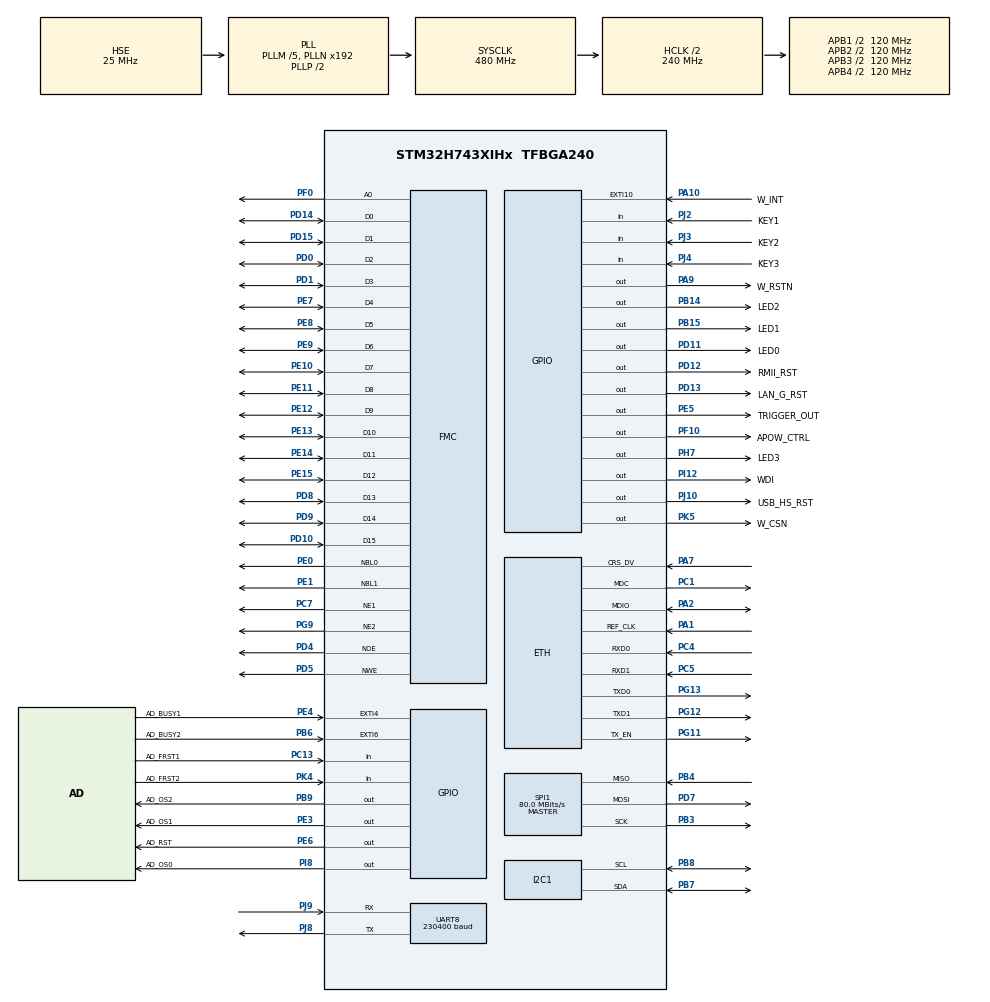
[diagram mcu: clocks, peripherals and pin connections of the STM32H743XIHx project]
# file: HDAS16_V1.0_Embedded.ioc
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CORTEX_M7.CPU_ICache=Disabled
ETH.MediaInterface=HAL_ETH_RMII_MODE
I2C1.Timing=0x307075B1
Mcu.Family=STM32H7
Mcu.Name=STM32H743XIHx
Mcu.Package=TFBGA240
NVIC.EXTI15_10_IRQn=true\:0\:0\:false\:false\:true\:true\:true
NVIC.EXTI4_IRQn=true\:0\:0\:false\:false\:true\:true\:true
NVIC.EXTI9_5_IRQn=true\:0\:0\:false\:false\:true\:true\:true
NVIC.PriorityGroup=NVIC_PRIORITYGROUP_4
PA1.Mode=RMII
PA1.Signal=ETH_REF_CLK
PA10.GPIO_Label=W_INT
PA10.GPIO_ModeDefaultEXTI=GPIO_MODE_IT_FALLING
PA10.Signal=GPXTI10
PA13\ (JTMS/SWDIO).Mode=Serial_Wire
PA13\ (JTMS/SWDIO).Signal=DEBUG_JTMS-SWDIO
PA14\ (JTCK/SWCLK).Mode=Serial_Wire
PA14\ (JTCK/SWCLK).Signal=DEBUG_JTCK-SWCLK
PA2.Mode=RMII
PA2.Signal=ETH_MDIO
PA7.Mode=RMII
PA7.Signal=ETH_CRS_DV
PA9.GPIO_Label=W_RSTN
PA9.GPIO_Speed=GPIO_SPEED_FREQ_MEDIUM
PA9.Signal=GPIO_Output
PB14.GPIO_Label=LED2
PB14.Signal=GPIO_Output
PB15.GPIO_Label=LED1
PB15.Signal=GPIO_Output
PB3\ (JTDO/TRACESWO).Mode=Full_Duplex_Master
PB3\ (JTDO/TRACESWO).Signal=SPI1_SCK
PB4\ (NJTRST).Mode=Full_Duplex_Master
PB4\ (NJTRST).Signal=SPI1_MISO
PB6.GPIO_Label=AD_BUSY2
PB6.GPIO_ModeDefaultEXTI=GPIO_MODE_IT_FALLING
PB6.Signal=GPXTI6
PB7.Mode=I2C
PB7.Signal=I2C1_SDA
PB8.Mode=I2C
PB8.Signal=I2C1_SCL
PB9.GPIO_Label=AD_OS2
PB9.Signal=GPIO_Output
PC1.Mode=RMII
PC1.Signal=ETH_MDC
PC13.GPIO_Label=AD_FRST1
PC13.Signal=GPIO_Input
PC14-OSC32_IN\ (OSC32_IN).Mode=LSE-External-Clock-Source
PC14-OSC32_IN\ (OSC32_IN).Signal=RCC_OSC32_IN
PC4.Mode=RMII
PC4.Signal=ETH_RXD0
PC5.Mode=RMII
PC5.Signal=ETH_RXD1
PC7.Mode=NorPsramChipSelect1_1
PC7.Signal=FMC_NE1
PD0.Signal=FMC_D2_DA2
PD1.Signal=FMC_D3_DA3
PD10.Signal=FMC_D15_DA15
PD11.GPIO_Label=LED0
PD11.Signal=GPIO_Output
PD12.GPIO_Label=RMII_RST
PD12.GPIO_PuPd=GPIO_NOPULL
PD12.GPIO_Speed=GPIO_SPEED_FREQ_MEDIUM
PD12.Signal=GPIO_Output
PD13.GPIO_Label=LAN_G_RST
PD13.Signal=GPIO_Output
PD14.Signal=FMC_D0_DA0
PD15.Signal=FMC_D1_DA1
PD4.Signal=FMC_NOE
PD5.Signal=FMC_NWE
PD7.Mode=Full_Duplex_Master
PD7.Signal=SPI1_MOSI
PD8.Signal=FMC_D13_DA13
PD9.Signal=FMC_D14_DA14
PE0.Signal=FMC_NBL0
PE1.Signal=FMC_NBL1
PE10.Signal=FMC_D7_DA7
PE11.Signal=FMC_D8_DA8
PE12.Signal=FMC_D9_DA9
PE13.Signal=FMC_D10_DA10
PE14.Signal=FMC_D11_DA11
PE15.Signal=FMC_D12_DA12
PE3.GPIO_Label=AD_OS1
PE3.Signal=GPIO_Output
PE4.GPIO_Label=AD_BUSY1
PE4.GPIO_ModeDefaultEXTI=GPIO_MODE_IT_FALLING
PE4.Signal=GPXTI4
PE5.GPIO_Label=TRIGGER_OUT
PE5.Signal=GPIO_Output
PE6.GPIO_Label=AD_RST
PE6.Signal=GPIO_Output
PE7.Signal=FMC_D4_DA4
PE8.Signal=FMC_D5_DA5
PE9.Signal=FMC_D6_DA6
PF0.Signal=FMC_A0
PF10.GPIO_Label=APOW_CTRL
PF10.Signal=GPIO_Output
PG11.Mode=RMII
PG11.Signal=ETH_TX_EN
PG12.Mode=RMII
PG12.Signal=ETH_TXD1
PG13.Mode=RMII
PG13.Signal=ETH_TXD0
PG9.Mode=NorPsramChipSelect2_2
PG9.Signal=FMC_NE2
PH0-OSC_IN\ (PH0).Mode=HSE-External-Clock-Source
PH0-OSC_IN\ (PH0).Signal=RCC_OSC_IN
PH7.GPIO_Label=LED3
PH7.Signal=GPIO_Output
PI12.GPIO_Label=WDI
PI12.Signal=GPIO_Output
PI8.GPIO_Label=AD_OS0
PI8.Signal=GPIO_Output
PJ10.GPIO_Label=USB_HS_RST
PJ10.GPIO_Speed=GPIO_SPEED_FREQ_MEDIUM
PJ10.Signal=GPIO_Output
PJ2.GPIO_Label=KEY1
PJ2.Signal=GPIO_Input
PJ3.GPIO_Label=KEY2
PJ3.Signal=GPIO_Input
PJ4.GPIO_Label=KEY3
PJ4.Signal=GPIO_Input
PJ8.Mode=Asynchronous
PJ8.Signal=UART8_TX
PJ9.Mode=Asynchronous
PJ9.Signal=UART8_RX
PK4.GPIO_Label=AD_FRST2
PK4.Signal=GPIO_Input
PK5.GPIO_Label=W_CSN
PK5.GPIO_Speed=GPIO_SPEED_FREQ_MEDIUM
PK5.PinState=GPIO_PIN_SET
PK5.Signal=GPIO_Output
ProjectManager.HeapSize=0x400
ProjectManager.StackSize=0x1000
ProjectManager.TargetToolchain=MDK-ARM V5.27
RCC.ADCFreq_Value=160000000
RCC.APB1Freq_Value=120000000
RCC.APB2Freq_Value=120000000
RCC.APB3Freq_Value=120000000
RCC.APB4Freq_Value=120000000
RCC.CortexFreq_Value=480000000
RCC.D1PPRE=RCC_APB3_DIV2
RCC.D2PPRE1=RCC_APB1_DIV2
RCC.D2PPRE2=RCC_APB2_DIV2
RCC.D3PPRE=RCC_APB4_DIV2
RCC.DIVM1=5
RCC.DIVM2=5
RCC.DIVM3=5
RCC.DIVN1=192
RCC.DIVN2=192
RCC.DIVN3=192
RCC.DIVP2=6
RCC.DIVQ1=8
RCC.DIVQ3=16
RCC.HCLKFreq_Value=240000000
RCC.HPRE=RCC_HCLK_DIV2
RCC.PLL2FRACN=0
RCC.PLL3FRACN=0
RCC.PLLFRACN=0
RCC.PLLSourceVirtual=RCC_PLLSOURCE_HSE
RCC.RTCClockSelection=RCC_RTCCLKSOURCE_LSE
RCC.SPI123CLockSelection=RCC_SPI123CLKSOURCE_PLL2
RCC.SYSCLKFreq_VALUE=480000000
RCC.SYSCLKSource=RCC_SYSCLKSOURCE_PLLCLK
RCC.USBCLockSelection=RCC_USBCLKSOURCE_PLL3
RCC.USBFreq_Value=60000000
SH.FMC_A0.0=FMC_A0,1b-a1
SH.FMC_A0.1=FMC_A0,1b-a2
SH.FMC_D0_DA0.0=FMC_D0,16b-d1
SH.FMC_D0_DA0.1=FMC_D0,16b-d2
SH.FMC_D10_DA10.0=FMC_D10,16b-d1
SH.FMC_D10_DA10.1=FMC_D10,16b-d2
SH.FMC_D11_DA11.0=FMC_D11,16b-d1
SH.FMC_D11_DA11.1=FMC_D11,16b-d2
SH.FMC_D12_DA12.0=FMC_D12,16b-d1
SH.FMC_D12_DA12.1=FMC_D12,16b-d2
SH.FMC_D13_DA13.0=FMC_D13,16b-d1
SH.FMC_D13_DA13.1=FMC_D13,16b-d2
SH.FMC_D14_DA14.0=FMC_D14,16b-d1
SH.FMC_D14_DA14.1=FMC_D14,16b-d2
SH.FMC_D15_DA15.0=FMC_D15,16b-d1
SH.FMC_D15_DA15.1=FMC_D15,16b-d2
SH.FMC_D1_DA1.0=FMC_D1,16b-d1
SH.FMC_D1_DA1.1=FMC_D1,16b-d2
SH.FMC_D2_DA2.0=FMC_D2,16b-d1
SH.FMC_D2_DA2.1=FMC_D2,16b-d2
SH.FMC_D3_DA3.0=FMC_D3,16b-d1
SH.FMC_D3_DA3.1=FMC_D3,16b-d2
SH.FMC_D4_DA4.0=FMC_D4,16b-d1
SH.FMC_D4_DA4.1=FMC_D4,16b-d2
SH.FMC_D5_DA5.0=FMC_D5,16b-d1
SH.FMC_D5_DA5.1=FMC_D5,16b-d2
SH.FMC_D6_DA6.0=FMC_D6,16b-d1
SH.FMC_D6_DA6.1=FMC_D6,16b-d2
SH.FMC_D7_DA7.0=FMC_D7,16b-d1
SH.FMC_D7_DA7.1=FMC_D7,16b-d2
SH.FMC_D8_DA8.0=FMC_D8,16b-d1
SH.FMC_D8_DA8.1=FMC_D8,16b-d2
SH.FMC_D9_DA9.0=FMC_D9,16b-d1
SH.FMC_D9_DA9.1=FMC_D9,16b-d2
SH.FMC_NBL0.0=FMC_NBL0,2ByteEnable1
SH.FMC_NBL1.0=FMC_NBL1,2ByteEnable1
SH.FMC_NOE.0=FMC_NOE,Sram1
SH.FMC_NOE.1=FMC_NOE,Sram2
SH.FMC_NWE.0=FMC_NWE,Sram1
SH.FMC_NWE.1=FMC_NWE,Sram2
SPI1.BaudRatePrescaler=SPI_BAUDRATEPRESCALER_2
SPI1.CalculateBaudRate=80.0 MBits/s
SPI1.DataSize=SPI_DATASIZE_8BIT
SPI1.Direction=SPI_DIRECTION_2LINES
SPI1.Mode=SPI_MODE_MASTER
SPI1.VirtualType=VM_MASTER
UART8.BaudRate=230400
board=custom

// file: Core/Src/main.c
/* USER CODE BEGIN Header */
/**
  ******************************************************************************
  * @file           : main.c
  * @brief          : Main program body
  ******************************************************************************
  * @attention
  *
  * <h2><center>&copy; Copyright (c) 2022 STMicroelectronics.
  * All rights reserved.</center></h2>
  *
  * This software component is licensed by ST under BSD 3-Clause license,
  * the "License"; You may not use this file except in compliance with the
  * License. You may obtain a copy of the License at:
  *                        opensource.org/licenses/BSD-3-Clause
  *
  ******************************************************************************
  */
/* USER CODE END Header */
#include "main.h"

#ifdef __GNUC__
  /* With GCC/RAISONANCE, small printf (option LD Linker->Libraries->Small printf
     set to 'Yes') calls __io_putchar() */
  #define PUTCHAR_PROTOTYPE int __io_putchar(int ch)
#else
  #define PUTCHAR_PROTOTYPE int fputc(int ch, FILE *f)
#endif /* __GNUC__ */

/*MAC地址首字节必须为偶数
  如果多块W5100s网络适配板在同一现场工作，请使用不同的MAC地址
*/

/*
socket发送缓存定义为16K，采集400组数据或超时（1S）后发送一次，这样在20K的采样率下，每隔20mS发送一组数据，建议采样率不超过100K

设备采用TCP服务器模式，采集到的数据通过以太网发送出去

*/

void CPU_CACHE_Enable(void);
void MPU_Config( void );

void HAL_Get_CPU_RCC_Clock(void);

//void SystemClock_Config(void);

void Uart_commend_process(void)
{
	//串口指令
		if(Uart_Rx_flag==1)
		{

			//进入命令处理函数,首先判断收到的数据是否正确，如果正确，则将数据存入EEPROM，然后继续运行，新参数将在重启后生效。
			// 7E 45 7E 45 01 xx xx xx xx SUM     设置IPV4地址
			// 7E 45 7E 45 02 xx xx xx xx SUM			设置子网掩码
			// 7E 45 7E 45 03 xx xx xx xx SUM			设置网关

			//检查帧头、数据长度、检验和正确性

			if((Uart_Rxbuff[0]==0x7e) && (Uart_Rxbuff[1]==0x45) && (Uart_Rxbuff[2]==0x7e) && (Uart_Rxbuff[3]==0x45) )
			{
				if(Uart_Rxbuff[4] == 0x01)
				{
					NetworkPar.lip[0]=Uart_Rxbuff[5];
					NetworkPar.lip[1]=Uart_Rxbuff[6];
					NetworkPar.lip[2]=Uart_Rxbuff[7];
					NetworkPar.lip[3]=Uart_Rxbuff[8];

					log_info("RX NetworkPar.lip dat,Uart_Rxcount:%d\r\n",Uart_Rxcount);

				}
				else if(Uart_Rxbuff[4] == 0x02)
				{
					NetworkPar.sub[0]=Uart_Rxbuff[5];
					NetworkPar.sub[1]=Uart_Rxbuff[6];
					NetworkPar.sub[2]=Uart_Rxbuff[7];
					NetworkPar.sub[3]=Uart_Rxbuff[8];

					log_info("RX NetworkPar.sub dat,Uart_Rxcount:%d\r\n",Uart_Rxcount);
				}
				else if(Uart_Rxbuff[4] == 0x03)
				{
					NetworkPar.gw[0]=Uart_Rxbuff[5];
					NetworkPar.gw[1]=Uart_Rxbuff[6];
					NetworkPar.gw[2]=Uart_Rxbuff[7];
					NetworkPar.gw[3]=Uart_Rxbuff[8];

					log_info("RX NetworkPar.gw dat,Uart_Rxcount:%d\r\n",Uart_Rxcount);
				}
				else if(Uart_Rxbuff[4] == 0x04)
				{
					NetworkPar.port=((uint16_t)Uart_Rxbuff[5]<<8)|Uart_Rxbuff[6];

					log_info("RX NetworkPar.port dat,Uart_Rxcount:%d\r\n",Uart_Rxcount);
				}
				else
				{
					log_info("Uart dat error,Uart_Rxcount:%d\r\n",Uart_Rxcount);
				}

				I2C_EE_BufferWrite(0xa0,0x0,(uint8_t *)&NetworkPar,sizeof(NetworkPar));

				//log_info("Uart_Rx:0x%x,Uart_Rxcount:%d\r\n",Uart_Rxbuff[0],Uart_Rxcount);
			}
			else
			{
				log_info("Uart_Rx Error\r\n");
			}

			Uart_Rx_flag=0;
			Uart_Rxcount=0;
		}
}

int fputc(int ch,FILE *f)
{
	HAL_UART_Transmit(&huart8,(uint8_t*)&ch,1,10);
	return ch;
}

NetworkPar_type NetworkPar_def={0};	//定义默认网络参数

uint32_t AD_count=0;
uint8_t buff[2048]={0};
uint8_t LAN_Link_Flag=0;
uint8_t test_dat=0;
uint8_t test_buff[128]={0};
uint8_t test_buff2[128]={0};
uint32_t tick_count=0;
int main(void)
{
  /* USER CODE BEGIN 1 */

	uint16 local_port=5000;
	uint8_t rx[3]={0};
	uint8_t tx[3]={0};

	uint32_t count=0;

	uint8 sn;

  /* USER CODE END 1 */

  /* MCU Configuration--------------------------------------------------------*/

  /* Reset of all peripherals, Initializes the Flash interface and the Systick. */

  /* USER CODE BEGIN Init */
	HAL_Init();

	SystemClock_Config();

  /* USER CODE END Init */

  /* Configure the system clock */

  /* Initialize all configured peripherals */
  MX_GPIO_Init();
	MX_UART8_Init();

  //MX_ETH_Init();
  MX_FMC_Init();
  MX_SPI1_Init();
  MX_I2C1_Init();

  /* USER CODE BEGIN 2 */

	HAL_Get_CPU_RCC_Clock();

  /* USER CODE END 2 */

  /* Infinite loop */
  /* USER CODE BEGIN WHILE */

	bsp_InitAD7606();

	HAL_GPIO_WritePin(APOW_CTRL_GPIO_Port, APOW_CTRL_Pin, GPIO_PIN_SET);

	log_info("Hardware Init OK!!!\r\n");

	WDI_TOGGLE();

	HAL_Delay(100);

	////初始化网络参数

	NetworkPar_def.lip[0]=192;
	NetworkPar_def.lip[1]=168;
	NetworkPar_def.lip[2]=1;
	NetworkPar_def.lip[3]=200;

	NetworkPar_def.sub[0]=255;
	NetworkPar_def.sub[1]=255;
	NetworkPar_def.sub[2]=255;
	NetworkPar_def.sub[3]=0;

	NetworkPar_def.gw[0]=192;
	NetworkPar_def.gw[1]=168;
	NetworkPar_def.gw[2]=1;
	NetworkPar_def.gw[3]=1;

	NetworkPar_def.port=5000;

	WDI_TOGGLE();

	if(I2C_EE_BufferRead(0xa0,0x0,(void *)&NetworkPar,sizeof(NetworkPar)) != HAL_OK)
	{
		memcpy((uint8_t *)&NetworkPar,(uint8_t *)&NetworkPar_def,sizeof(NetworkPar_def));	//给网络复制默认参数
		local_port=NetworkPar_def.port;
	}
	else
	{
		local_port=NetworkPar.port;
	}

	if(NetworkPar_def.lip[0]<127)
	{
		memcpy((uint8_t *)&NetworkPar,(uint8_t *)&NetworkPar_def,sizeof(NetworkPar_def));	//给网络复制默认参数
		local_port=NetworkPar_def.port;
	}
	else
	{
		local_port=NetworkPar.port;
	}

	//检查网络参数正确性。否则将复制默认参数

//#if 1
//
//	for(uint8_t i=0;i<128;i++)
//		test_buff2[i]=i;
//
//	while(1)
//	{
//
//	//I2C_EE_ByteWrite(0xa0,0x00,0x55);
//
//
//		I2C_EE_BufferWrite(0xa0,0x0,test_buff2,32);
//
//		HAL_Delay(100);
//
//	I2C_EE_BufferRead(0xa0,0x0,test_buff,32);
//
//		for(uint8_t i=0;i<32;i++)
//		{
//			log_info("test_buff[%d]:0x%x\r\n",i,test_buff[i]);
//		}
//
//	log_info("I2C test_buff[0]=0x%x\r\n",test_buff[0]);
//
//		HAL_Delay(5000);
//
//	}
//
//#endif

	//hdas_thread_creat();	//执行创建任务函数，开始RTOS

	/***** 硬重启W6100 *****/
	Reset_W6100();           // 复位 W6100  2020-03-11
	//	/***** W6100的IP信息初始化 *****/
	Set_Network();														// 配置初始化IP等信息并打印 2020-03-11
	setRCR(3);
	setRTR(4000);

	LOG_Net_info();

	LAN_Link_Flag=0;
	log_info("[%d]wait PHY_LINK...\r\n",count);

	while(wizphy_getphylink()==PHY_LINK_OFF) // 等待物理连接成功后，再进入到socket操作，2020-03-13
	{
			WDI_TOGGLE();
			HAL_Delay(250);
			WDI_TOGGLE();
			HAL_Delay(250);
			WDI_TOGGLE();
			HAL_Delay(250);
			WDI_TOGGLE();
			HAL_Delay(250);
			count++;

			Uart_commend_process();	//串口指令解析

		log_info("[%d]wait PHY_LINK...\r\n",count);
	}

	LAN_Link_Flag=1;
	log_info("PHY_LINK\r\n");

	//数据帧的帧头和帧尾格式

	AD_buff[0]=0x5555;
	AD_buff[1]=0x5555;
	AD_buff[962]=0xffff;
	AD_buff[963]=0xffff;

#if 1
	while(1)//socket操作测试
	{
		//网络发送

		//LED0_TOGGLE();

		WDI_TOGGLE();

		//tick_count=HAL_GetTick();
		if(wizphy_getphylink()==PHY_LINK_OFF)
		{
			for(sn=0;sn<7;sn++)
			{
				close(sn);
			}

			WDI_TOGGLE();
			HAL_Delay(250);
			WDI_TOGGLE();
			HAL_Delay(250);
			WDI_TOGGLE();
			HAL_Delay(250);
			WDI_TOGGLE();
			HAL_Delay(250);

			log_info("PHY_LINK_OFF\r\n");
		}
		else 	//采集到一组数据
		{
			tcps_senddata_ipv4(0, local_port,buff);
		}

		//tick_count=HAL_GetTick()-tick_count;

		//log_info("tick:%d\r\n",tick_count);

		WDI_TOGGLE();

		Uart_commend_process();	//串口指令解析

		//测试代码，输出脉冲信号
#ifdef SELF_TRIGGER_TEST
		HAL_Delay(100);

		{
			uint16_t ix=60;
			while(ix--)
			{
				HAL_GPIO_WritePin(GPIOA, GPIO_PIN_6, GPIO_PIN_RESET);
				//HAL_GPIO_WritePin(LED3_GPIO_Port, LED3_Pin, GPIO_PIN_SET);
				HAL_Delay(1);
				HAL_GPIO_WritePin(GPIOA, GPIO_PIN_6, GPIO_PIN_SET);
				//HAL_GPIO_WritePin(LED3_GPIO_Port, LED3_Pin, GPIO_PIN_RESET);
				HAL_Delay(1);
			}
		}
#endif

	}
#endif

#if	0
  while (1)//AD7606操作测试
  {
		HAL_Delay(10);
		HAL_GPIO_WritePin(WDI_GPIO_Port, WDI_Pin, GPIO_PIN_RESET);

		HAL_Delay(10);
		HAL_GPIO_WritePin(WDI_GPIO_Port, WDI_Pin, GPIO_PIN_SET);

		if(AD_flag==0x01)
		{
			AD_flag=0;
			AD_count++;

			log_info("AD_count=%d\r\n",AD_count);

			for(uint8_t i=0;i<=15;i++)
			{
				log_info("AD_dat[%d]:0x%x\r\n",i,AD_dat[i]);
			}

//			for(uint8_t i=0;i<=7;i++)
//			{
//				log_info("AD_B_dat[%d]:0x%x\r\n",i,AD_B_dat[i]);
//			}
			log_info("\r\n");
		}

    /* USER CODE END WHILE */

    /* USER CODE BEGIN 3 */
  }
#endif
  /* USER CODE END 3 */
}

void SystemClock_Config(void)
{
  RCC_OscInitTypeDef RCC_OscInitStruct = {0};
  RCC_ClkInitTypeDef RCC_ClkInitStruct = {0};

  /** Supply configuration update enable
  */
  HAL_PWREx_ConfigSupply(PWR_LDO_SUPPLY);
  /** Configure the main internal regulator output voltage
  */
  __HAL_PWR_VOLTAGESCALING_CONFIG(PWR_REGULATOR_VOLTAGE_SCALE0);

  while(!__HAL_PWR_GET_FLAG(PWR_FLAG_VOSRDY)) {}
  /** Macro to configure the PLL clock source
  */
  __HAL_RCC_PLL_PLLSOURCE_CONFIG(RCC_PLLSOURCE_HSE);
  /** Initializes the RCC Oscillators according to the specified parameters
  * in the RCC_OscInitTypeDef structure.
  */
  RCC_OscInitStruct.OscillatorType = RCC_OSCILLATORTYPE_HSE;
  RCC_OscInitStruct.HSEState = RCC_HSE_BYPASS;
  RCC_OscInitStruct.PLL.PLLState = RCC_PLL_ON;
  RCC_OscInitStruct.PLL.PLLSource = RCC_PLLSOURCE_HSE;
  RCC_OscInitStruct.PLL.PLLM = 5;
  RCC_OscInitStruct.PLL.PLLN = 192;
  RCC_OscInitStruct.PLL.PLLP = 2;
  RCC_OscInitStruct.PLL.PLLQ = 8;
  RCC_OscInitStruct.PLL.PLLR = 2;
  RCC_OscInitStruct.PLL.PLLRGE = RCC_PLL1VCIRANGE_2;
  RCC_OscInitStruct.PLL.PLLVCOSEL = RCC_PLL1VCOWIDE;
  RCC_OscInitStruct.PLL.PLLFRACN = 0;
  if (HAL_RCC_OscConfig(&RCC_OscInitStruct) != HAL_OK)
  {
    Error_Handler();
  }
  /** Initializes the CPU, AHB and APB buses clocks
  */
  RCC_ClkInitStruct.ClockType = RCC_CLOCKTYPE_HCLK|RCC_CLOCKTYPE_SYSCLK
                              |RCC_CLOCKTYPE_PCLK1|RCC_CLOCKTYPE_PCLK2
                              |RCC_CLOCKTYPE_D3PCLK1|RCC_CLOCKTYPE_D1PCLK1;
  RCC_ClkInitStruct.SYSCLKSource = RCC_SYSCLKSOURCE_PLLCLK;
  RCC_ClkInitStruct.SYSCLKDivider = RCC_SYSCLK_DIV1;
  RCC_ClkInitStruct.AHBCLKDivider = RCC_HCLK_DIV2;
  RCC_ClkInitStruct.APB3CLKDivider = RCC_APB3_DIV2;
  RCC_ClkInitStruct.APB1CLKDivider = RCC_APB1_DIV2;
  RCC_ClkInitStruct.APB2CLKDivider = RCC_APB2_DIV2;
  RCC_ClkInitStruct.APB4CLKDivider = RCC_APB4_DIV2;

  if (HAL_RCC_ClockConfig(&RCC_ClkInitStruct, FLASH_LATENCY_4) != HAL_OK)
  {
    Error_Handler();
  }
}

void MPU_Config( void )
{
	MPU_Region_InitTypeDef MPU_InitStruct;

	/* 禁止 MPU */
	HAL_MPU_Disable();

	/* 配置AXI SRAM的MPU属性为Write through, read allocate，no write allocate */
	MPU_InitStruct.Enable           = MPU_REGION_ENABLE;
	MPU_InitStruct.BaseAddress      = 0x24000000;
	MPU_InitStruct.Size             = MPU_REGION_SIZE_512KB;
	MPU_InitStruct.AccessPermission = MPU_REGION_FULL_ACCESS;
	MPU_InitStruct.IsBufferable     = MPU_ACCESS_NOT_BUFFERABLE;
	MPU_InitStruct.IsCacheable      = MPU_ACCESS_CACHEABLE;
	MPU_InitStruct.IsShareable      = MPU_ACCESS_NOT_SHAREABLE;
	MPU_InitStruct.Number           = MPU_REGION_NUMBER0;
	MPU_InitStruct.TypeExtField     = MPU_TEX_LEVEL0;
	MPU_InitStruct.SubRegionDisable = 0x00;
	MPU_InitStruct.DisableExec      = MPU_INSTRUCTION_ACCESS_ENABLE;

	HAL_MPU_ConfigRegion(&MPU_InitStruct);

//	/* 配置FMC扩展IO的MPU属性为Device或者Strongly Ordered */
//	MPU_InitStruct.Enable           = MPU_REGION_ENABLE;
//	MPU_InitStruct.BaseAddress      = 0x60000000;
//	MPU_InitStruct.Size             = ARM_MPU_REGION_SIZE_64KB;
//	MPU_InitStruct.AccessPermission = MPU_REGION_FULL_ACCESS;
//	MPU_InitStruct.IsBufferable     = MPU_ACCESS_BUFFERABLE;
//	MPU_InitStruct.IsCacheable      = MPU_ACCESS_NOT_CACHEABLE;	/* 不能用MPU_ACCESS_CACHEABLE;会出现2次CS、WE信号 */
//	MPU_InitStruct.IsShareable      = MPU_ACCESS_NOT_SHAREABLE;
//	MPU_InitStruct.Number           = MPU_REGION_NUMBER1;
//	MPU_InitStruct.TypeExtField     = MPU_TEX_LEVEL0;
//	MPU_InitStruct.SubRegionDisable = 0x00;
//	MPU_InitStruct.DisableExec      = MPU_INSTRUCTION_ACCESS_ENABLE;
//
//	HAL_MPU_ConfigRegion(&MPU_InitStruct);

	/* 配置SRAM3的属性为Write through, read allocate，no write allocate */
//    MPU_InitStruct.Enable           = MPU_REGION_ENABLE;
//    MPU_InitStruct.BaseAddress      = 0x38000000;
//    MPU_InitStruct.Size             = ARM_MPU_REGION_SIZE_64KB;
//    MPU_InitStruct.AccessPermission = MPU_REGION_FULL_ACCESS;
//    MPU_InitStruct.IsBufferable     = MPU_ACCESS_NOT_BUFFERABLE;
//    MPU_InitStruct.IsCacheable      = MPU_ACCESS_CACHEABLE;
//    MPU_InitStruct.IsShareable      = MPU_ACCESS_NOT_SHAREABLE;
//    MPU_InitStruct.Number           = MPU_REGION_NUMBER2;
//    MPU_InitStruct.TypeExtField     = MPU_TEX_LEVEL0;
//    MPU_InitStruct.SubRegionDisable = 0x00;
//    MPU_InitStruct.DisableExec      = MPU_INSTRUCTION_ACCESS_ENABLE;

//    HAL_MPU_ConfigRegion(&MPU_InitStruct);

	/*使能 MPU */
	HAL_MPU_Enable(MPU_PRIVILEGED_DEFAULT);
}

void CPU_CACHE_Enable(void)
{
  /* Enable I-Cache */
  SCB_EnableICache();

  /* Enable D-Cache */
  SCB_EnableDCache();
}

/* USER CODE BEGIN 4 */
void HAL_Get_CPU_RCC_Clock(void)
{
	log_info("[HAL_Get_CPU_RCC_Clock]HAL_RCC_SysClockFreq:%dMHz\r\n",HAL_RCC_GetSysClockFreq()/1000000);
	log_info("[HAL_Get_CPU_RCC_Clock]HAL_RCC_HCLKFreq:%dMHz\r\n",HAL_RCC_GetHCLKFreq()/1000000);
	log_info("[HAL_Get_CPU_RCC_Clock]HAL_RCC_PCLK1Freq:%dMHz\r\n",HAL_RCC_GetPCLK1Freq()/1000000);
	log_info("[HAL_Get_CPU_RCC_Clock]HAL_RCC_PCLK2Freq:%dMHz\r\n",HAL_RCC_GetPCLK2Freq()/1000000);

	//log_info("[%s][%s][%d]Error_Handler\r\n",__FILE__,__func__,__LINE__);
}

/* USER CODE END 4 */

void Error_Handler(void)
{
  __disable_irq();
  while (1)
  {
  }
}

/************************ (C) COPYRIGHT STMicroelectronics *****END OF FILE****/
